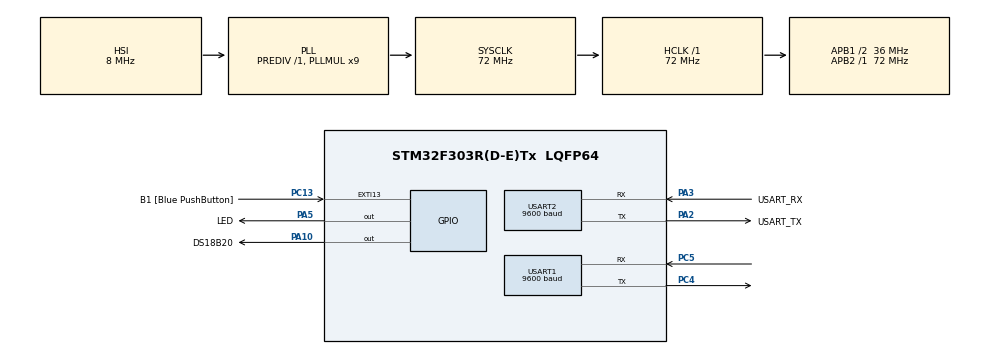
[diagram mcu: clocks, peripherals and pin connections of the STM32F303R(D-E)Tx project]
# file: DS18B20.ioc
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Dma.Request0=USART1_RX
Dma.Request1=USART1_TX
Dma.USART1_RX.0.Direction=DMA_PERIPH_TO_MEMORY
Dma.USART1_RX.0.Instance=DMA1_Channel5
Dma.USART1_RX.0.MemDataAlignment=DMA_MDATAALIGN_BYTE
Dma.USART1_RX.0.MemInc=DMA_MINC_ENABLE
Dma.USART1_RX.0.Mode=DMA_NORMAL
Dma.USART1_RX.0.PeriphDataAlignment=DMA_PDATAALIGN_BYTE
Dma.USART1_RX.0.PeriphInc=DMA_PINC_DISABLE
Dma.USART1_RX.0.Priority=DMA_PRIORITY_LOW
Dma.USART1_TX.1.Direction=DMA_MEMORY_TO_PERIPH
Dma.USART1_TX.1.Instance=DMA1_Channel4
Dma.USART1_TX.1.MemDataAlignment=DMA_MDATAALIGN_BYTE
Dma.USART1_TX.1.MemInc=DMA_MINC_ENABLE
Dma.USART1_TX.1.Mode=DMA_NORMAL
Dma.USART1_TX.1.PeriphDataAlignment=DMA_PDATAALIGN_BYTE
Dma.USART1_TX.1.PeriphInc=DMA_PINC_DISABLE
Dma.USART1_TX.1.Priority=DMA_PRIORITY_LOW
Mcu.Family=STM32F3
Mcu.Name=STM32F303R(D-E)Tx
Mcu.Package=LQFP64
NVIC.DMA1_Channel4_IRQn=true\:0\:0\:false\:false\:true\:false\:true
NVIC.DMA1_Channel5_IRQn=true\:0\:0\:false\:false\:true\:false\:true
NVIC.PriorityGroup=NVIC_PRIORITYGROUP_0
NVIC.TIM2_IRQn=true\:0\:0\:false\:false\:true\:true\:true
NVIC.USART1_IRQn=true\:0\:0\:false\:false\:true\:true\:true
PA10.GPIO_Label=DS18B20
PA10.Signal=GPIO_Output
PA13.GPIO_Label=TMS
PA13.Mode=Serial_Wire
PA13.Signal=SYS_JTMS-SWDIO
PA14.GPIO_Label=TCK
PA14.Mode=Serial_Wire
PA14.Signal=SYS_JTCK-SWCLK
PA2.GPIO_Label=USART_TX
PA2.GPIO_Mode=GPIO_MODE_AF_PP
PA2.GPIO_PuPd=GPIO_NOPULL
PA2.GPIO_Speed=GPIO_SPEED_FREQ_LOW
PA2.Mode=Asynchronous
PA2.Signal=USART2_TX
PA3.GPIO_Label=USART_RX
PA3.GPIO_Mode=GPIO_MODE_AF_PP
PA3.GPIO_PuPd=GPIO_NOPULL
PA3.GPIO_Speed=GPIO_SPEED_FREQ_LOW
PA3.Mode=Asynchronous
PA3.Signal=USART2_RX
PA5.GPIO_Label=LED
PA5.GPIO_Mode=GPIO_MODE_OUTPUT_PP
PA5.GPIO_PuPd=GPIO_NOPULL
PA5.GPIO_Speed=GPIO_SPEED_FREQ_LOW
PA5.Signal=GPIO_Output
PB3.GPIO_Label=SWO
PB3.Signal=SYS_JTDO-TRACESWO
PC13.GPIO_Label=B1 [Blue PushButton]
PC13.GPIO_ModeDefaultEXTI=GPIO_MODE_IT_FALLING
PC13.Signal=GPXTI13
PC14-OSC32_IN.Mode=LSE-External-Oscillator
PC14-OSC32_IN.Signal=RCC_OSC32_IN
PC15-OSC32_OUT.Mode=LSE-External-Oscillator
PC15-OSC32_OUT.Signal=RCC_OSC32_OUT
PC4.Mode=Asynchronous
PC4.Signal=USART1_TX
PC5.Mode=Asynchronous
PC5.Signal=USART1_RX
PF0-OSC_IN.Mode=HSE-External-Clock-Source
PF0-OSC_IN.Signal=RCC_OSC_IN
PF1-OSC_OUT.Signal=RCC_OSC_OUT
ProjectManager.HeapSize=0x200
ProjectManager.StackSize=0x400
ProjectManager.TargetToolchain=TrueSTUDIO
RCC.AHBFreq_Value=72000000
RCC.APB1CLKDivider=RCC_HCLK_DIV2
RCC.APB1Freq_Value=36000000
RCC.APB1TimFreq_Value=72000000
RCC.APB2Freq_Value=72000000
RCC.APB2TimFreq_Value=72000000
RCC.CortexFreq_Value=72000000
RCC.HCLKFreq_Value=72000000
RCC.HSE_VALUE=8000000
RCC.HSI_VALUE=8000000
RCC.PLLM=8
RCC.PLLMUL=RCC_PLL_MUL9
RCC.PLLN=336
RCC.PLLP=RCC_PLLP_DIV4
RCC.PLLQ=7
RCC.RCC_PLLsource_Clock_Source_FROM_HSE=RCC_HSE_PREDIV_DIV2
RCC.SYSCLKFreq_VALUE=72000000
RCC.SYSCLKSourceVirtual=RCC_SYSCLKSOURCE_PLLCLK
RCC.USBFreq_Value=72000000
TIM1.Period=0xFFFF
TIM1.Prescaler=71
TIM2.Period=49999
TIM2.Prescaler=7199
USART1.BaudRate=9600
USART1.VirtualMode-Asynchronous=VM_ASYNC
USART2.BaudRate=9600
USART2.VirtualMode-Asynchronous=VM_ASYNC
VP_TIM1_VS_ClockSourceINT.Mode=Internal
VP_TIM2_VS_ClockSourceINT.Mode=Internal
board=NUCLEO-F303RE

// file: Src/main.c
/* USER CODE BEGIN Header */
/**
 ******************************************************************************
 * @file           : main.c
 * @brief          : Main program body
 ******************************************************************************
 * @attention
 *
 * <h2><center>&copy; Copyright (c) 2019 STMicroelectronics.
 * All rights reserved.</center></h2>
 *
 * This software component is licensed by ST under BSD 3-Clause license,
 * the "License"; You may not use this file except in compliance with the
 * License. You may obtain a copy of the License at:
 *                        opensource.org/licenses/BSD-3-Clause
 *
 ******************************************************************************
 */
/* USER CODE END Header */

#include "main.h"
#include "dma.h"
#include "tim.h"
#include "usart.h"
#include "gpio.h"

/* USER CODE BEGIN Includes */
#include "onewire.h"
#include "ds18b20.h"
#include "string.h"
/* USER CODE END Includes */

void SystemClock_Config(void);

/* USER CODE BEGIN 0 */
void HAL_TIM_PeriodElapsedCallback(TIM_HandleTypeDef *htim)
{
	float temperature;
	char message[64];
	int messageSize;

	DS18B20_ReadAll();
	DS18B20_StartAll();

	if (DS18B20_GetTemperature(0, &temperature)) {
		memset(message, 0, sizeof(message));
		messageSize = sprintf(message, "%.1f\n\r", temperature);
		HAL_UART_Transmit_DMA(&huart1, (uint8_t*) message, messageSize);
	}
	HAL_GPIO_TogglePin(LED_GPIO_Port, LED_Pin);

}
/* USER CODE END 0 */

int main(void)
{

  /* MCU Configuration--------------------------------------------------------*/

  /* Reset of all peripherals, Initializes the Flash interface and the Systick. */
  HAL_Init();

  /* Configure the system clock */
  SystemClock_Config();

  /* Initialize all configured peripherals */
  MX_GPIO_Init();
  MX_DMA_Init();
  MX_TIM1_Init();
  MX_USART2_UART_Init();
  MX_TIM2_Init();
  MX_USART1_UART_Init();
  /* USER CODE BEGIN 2 */
	DS18B20_Init(DS18B20_Resolution_9bits);
	HAL_TIM_Base_Start_IT(&htim2);
  /* USER CODE END 2 */

  /* Infinite loop */
	while (1) {

	}
}

void SystemClock_Config(void)
{
  RCC_OscInitTypeDef RCC_OscInitStruct = {0};
  RCC_ClkInitTypeDef RCC_ClkInitStruct = {0};
  RCC_PeriphCLKInitTypeDef PeriphClkInit = {0};

  /** Initializes the CPU, AHB and APB busses clocks
  */
  RCC_OscInitStruct.OscillatorType = RCC_OSCILLATORTYPE_HSI;
  RCC_OscInitStruct.HSIState = RCC_HSI_ON;
  RCC_OscInitStruct.HSICalibrationValue = RCC_HSICALIBRATION_DEFAULT;
  RCC_OscInitStruct.PLL.PLLState = RCC_PLL_ON;
  RCC_OscInitStruct.PLL.PLLSource = RCC_PLLSOURCE_HSI;
  RCC_OscInitStruct.PLL.PLLMUL = RCC_PLL_MUL9;
  RCC_OscInitStruct.PLL.PREDIV = RCC_PREDIV_DIV1;
  if (HAL_RCC_OscConfig(&RCC_OscInitStruct) != HAL_OK)
  {
    Error_Handler();
  }
  /** Initializes the CPU, AHB and APB busses clocks
  */
  RCC_ClkInitStruct.ClockType = RCC_CLOCKTYPE_HCLK|RCC_CLOCKTYPE_SYSCLK
                              |RCC_CLOCKTYPE_PCLK1|RCC_CLOCKTYPE_PCLK2;
  RCC_ClkInitStruct.SYSCLKSource = RCC_SYSCLKSOURCE_PLLCLK;
  RCC_ClkInitStruct.AHBCLKDivider = RCC_SYSCLK_DIV1;
  RCC_ClkInitStruct.APB1CLKDivider = RCC_HCLK_DIV2;
  RCC_ClkInitStruct.APB2CLKDivider = RCC_HCLK_DIV1;

  if (HAL_RCC_ClockConfig(&RCC_ClkInitStruct, FLASH_LATENCY_2) != HAL_OK)
  {
    Error_Handler();
  }
  PeriphClkInit.PeriphClockSelection = RCC_PERIPHCLK_USART1|RCC_PERIPHCLK_USART2
                              |RCC_PERIPHCLK_TIM1|RCC_PERIPHCLK_TIM2;
  PeriphClkInit.Usart1ClockSelection = RCC_USART1CLKSOURCE_PCLK2;
  PeriphClkInit.Usart2ClockSelection = RCC_USART2CLKSOURCE_PCLK1;
  PeriphClkInit.Tim1ClockSelection = RCC_TIM1CLK_HCLK;
  PeriphClkInit.Tim2ClockSelection = RCC_TIM2CLK_HCLK;
  if (HAL_RCCEx_PeriphCLKConfig(&PeriphClkInit) != HAL_OK)
  {
    Error_Handler();
  }
}

void Error_Handler(void)
{
}

/************************ (C) COPYRIGHT STMicroelectronics *****END OF FILE****/
